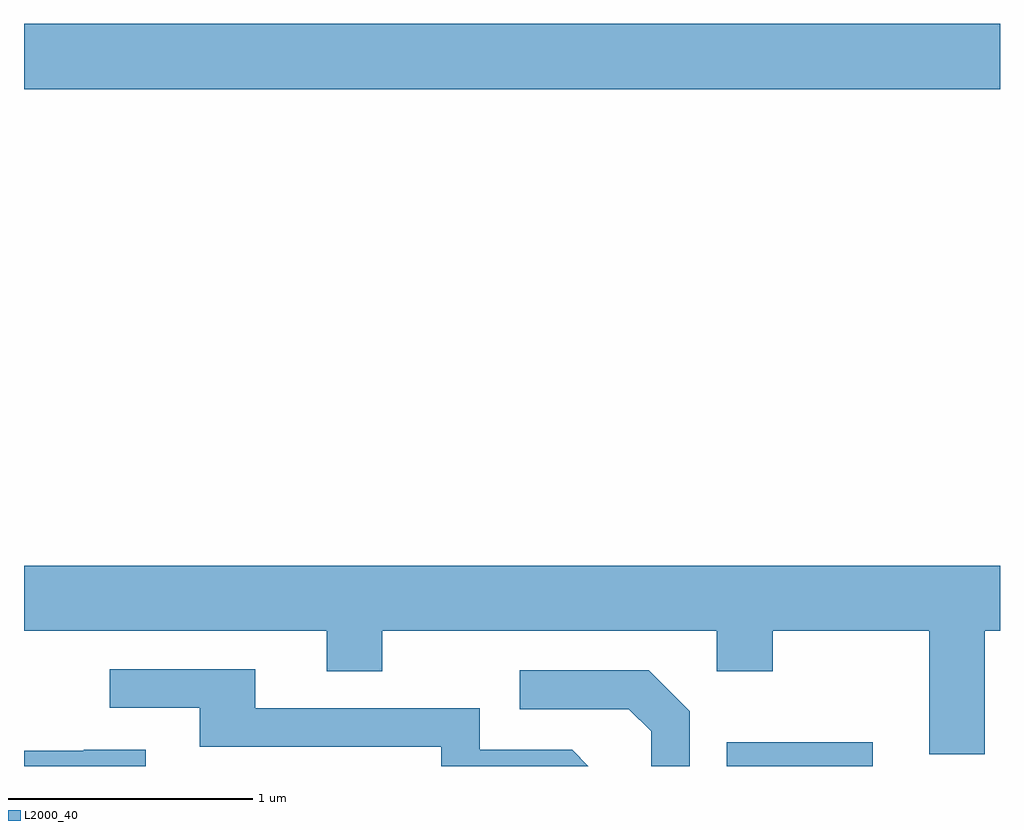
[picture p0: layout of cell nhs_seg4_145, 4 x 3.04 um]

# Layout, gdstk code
import gdstk
lib = gdstk.Library(unit=1e-6, precision=1e-09)
def R(c, l, rs):  # rectangles x0, y0, x1, y1
    for r in rs: c.add(gdstk.rectangle(r[:2], r[2:], *l))
def P(c, l, *ps):  # polygons
    for p in ps: c.add(gdstk.Polygon(p, *l))
L2000_40 = (2000, 40)

nhs_seg4_145 = lib.new_cell('nhs_seg4_145')
R(nhs_seg4_145, L2000_40, [(192.491,1271.982,193.089,1272.079), (189.611,1274.756,193.611,1275.024)])
P(nhs_seg4_145, L2000_40, [(193.549,1272.536),(193.611,1272.536),(193.611,1272.804),(189.611,1272.804),(189.611,1272.536),(190.851,1272.536),(190.851,1272.371),(191.079,1272.371),(191.079,1272.536),(192.451,1272.536),(192.451,1272.371),(192.679,1272.371),(192.679,1272.536),(193.321,1272.536),(193.321,1272.031),(193.549,1272.031)],
  [(191.857,1272.049),(191.479,1272.049),(191.479,1272.219),(190.559,1272.219),(190.559,1272.379),(189.963,1272.379),(189.963,1272.221),(190.331,1272.221),(190.331,1272.061),(191.321,1272.061),(191.321,1271.982),(191.924,1271.982)],
  [(192.339,1272.207),(192.172,1272.374),(191.643,1272.374),(191.643,1272.216),(192.089,1272.216),(192.181,1272.124),(192.181,1271.982),(192.339,1271.982)],
  [(190.109,1272.049),(189.855,1272.049),(189.855,1272.044),(189.611,1272.044),(189.611,1271.982),(190.109,1271.982)])

lib.write_gds('nhs_seg4_145.gds')
